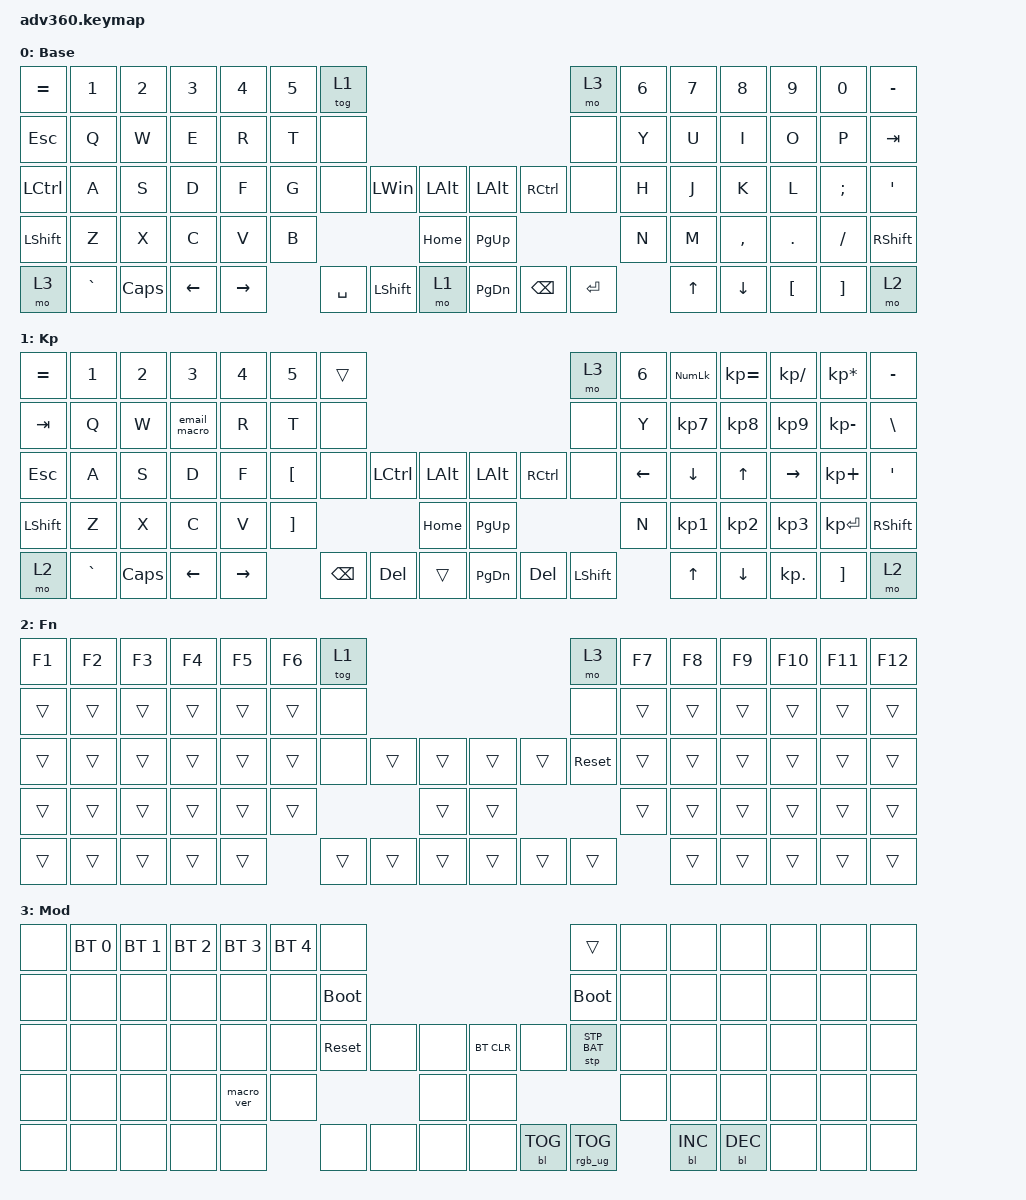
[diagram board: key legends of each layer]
#include <dt-bindings/zmk/stp.h>
#include <behaviors.dtsi>
#include <dt-bindings/zmk/backlight.h>
#include <dt-bindings/zmk/bt.h>
#include <dt-bindings/zmk/keys.h>
#include <dt-bindings/zmk/rgb.h>

/ {
    behaviors {
        #include "macros.dtsi"
      #include "version.dtsi"

        hm: homerow_mods {
            compatible = "zmk,behavior-hold-tap";
            label = "HOMEROW_MODS";
            #binding-cells = <2>;
            tapping-term-ms = <200>;
            quick_tap_ms = <175>;
            flavor = "tap-preferred";
            bindings = <&kp>, <&kp>;
        };
    };

    macros {
        email_macro: email_macro {
            compatible = "zmk,behavior-macro";
            #binding-cells = <0>;
            bindings = <&none &kp A &kp L &kp E &kp X &kp A &kp N &kp D &kp E &kp R &kp D &kp I &kp N &kp G &kp W &kp A &kp L &kp L &kp N5 &kp N3 &kp N9 &kp N8 &kp AT &kp G &kp M &kp A &kp I &kp L &kp DOT &kp C &kp O &kp M>;
            label = "EMAIL_MACRO";
        };
    };

    keymap {
        compatible = "zmk,keymap";

        default_layer {
            display-name = "Base";
            bindings = <
&kp EQUAL   &kp NUMBER_1  &kp N2    &kp N3    &kp N4     &kp N5  &tog 1                                                                &mo 3      &kp N6  &kp N7  &kp N8     &kp N9    &kp N0    &kp MINUS
&kp ESCAPE  &kp Q         &kp W     &kp E     &kp R      &kp T   &none                                                                 &none      &kp Y   &kp U   &kp I      &kp O     &kp P     &kp TAB
&kp LCTRL   &kp A         &kp S     &kp D     &kp F      &kp G   &none      &kp LEFT_WIN    &kp LALT      &kp LEFT_ALT  &kp RCTRL      &none      &kp H   &kp J   &kp K      &kp L     &kp SEMI  &kp SQT
&kp LSHFT   &kp Z         &kp X     &kp C     &kp V      &kp B                              &kp HOME      &kp PG_UP                               &kp N   &kp M   &kp COMMA  &kp DOT   &kp FSLH  &kp RSHFT
&mo 3       &kp GRAVE     &kp CAPS  &kp LEFT  &kp RIGHT          &kp SPACE  &kp LEFT_SHIFT  &mo 1         &kp PG_DN     &kp BACKSPACE  &kp ENTER          &kp UP  &kp DOWN   &kp LBKT  &kp RBKT  &mo 2
            >;
        };

        keypad {
            display-name = "Kp";
            bindings = <
&kp EQUAL  &kp N1     &kp N2    &kp N3        &kp N4     &kp N5             &trans                                                       &mo 3           &kp N6    &kp KP_NUM  &kp KP_EQUAL  &kp KP_DIVIDE    &kp KP_MULTIPLY  &kp MINUS
&kp TAB    &kp Q      &kp W     &email_macro  &kp R      &kp T              &none                                                        &none           &kp Y     &kp KP_N7   &kp KP_N8     &kp KP_N9        &kp KP_MINUS     &kp BSLH
&kp ESC    &kp A      &kp S     &kp D         &kp F      &kp LEFT_BRACKET   &none     &kp LCTRL  &kp LALT      &kp LEFT_ALT  &kp RCTRL   &none           &kp LEFT  &kp DOWN    &kp UP_ARROW  &kp RIGHT_ARROW  &kp KP_PLUS      &kp SQT
&kp LSHFT  &kp Z      &kp X     &kp C         &kp V      &kp RIGHT_BRACKET                       &kp HOME      &kp PG_UP                                 &kp N     &kp KP_N1   &kp KP_N2     &kp KP_N3        &kp KP_ENTER     &kp RSHFT
&mo 2      &kp GRAVE  &kp CAPS  &kp LEFT      &kp RIGHT                     &kp BSPC  &kp DEL    &trans        &kp PG_DN     &kp DELETE  &kp LEFT_SHIFT            &kp UP      &kp DOWN      &kp KP_DOT       &kp RBKT         &mo 2
            >;
        };

        fn {
            display-name = "Fn";
            bindings = <
&kp F1  &kp F2  &kp F3  &kp F4  &kp F5  &kp F6  &tog 1                                      &mo 3       &kp F7  &kp F8  &kp F9  &kp F10  &kp F11  &kp F12
&trans  &trans  &trans  &trans  &trans  &trans  &none                                       &none       &trans  &trans  &trans  &trans   &trans   &trans
&trans  &trans  &trans  &trans  &trans  &trans  &none   &trans  &trans      &trans  &trans  &sys_reset  &trans  &trans  &trans  &trans   &trans   &trans
&trans  &trans  &trans  &trans  &trans  &trans                  &trans      &trans                      &trans  &trans  &trans  &trans   &trans   &trans
&trans  &trans  &trans  &trans  &trans          &trans  &trans  &trans      &trans  &trans  &trans              &trans  &trans  &trans   &trans   &trans
            >;
        };

        mod {
            display-name = "Mod";
            bindings = <
&none  &bt BT_SEL 0  &bt BT_SEL 1  &bt BT_SEL 2  &bt BT_SEL 3  &bt BT_SEL 4  &none                                                  &trans           &none  &none       &none       &none  &none  &none
&none  &none         &none         &none         &none         &none         &bootloader                                            &bootloader      &none  &none       &none       &none  &none  &none
&none  &none         &none         &none         &none         &none         &sys_reset   &none  &none      &bt BT_CLR  &none       &stp STP_BAT     &none  &none       &none       &none  &none  &none
&none  &none         &none         &none         &macro_ver    &none                             &none      &none                                    &none  &none       &none       &none  &none  &none
&none  &none         &none         &none         &none                       &none        &none  &none      &none       &bl BL_TOG  &rgb_ug RGB_TOG         &bl BL_INC  &bl BL_DEC  &none  &none  &none
            >;
        };

        extra1 {
            display-name = "Red";
            status = "reserved";
        };

        extra2 {
            display-name = "Purple";
            status = "reserved";
        };

        extra3 {
            display-name = "Cyan";
            status = "reserved";
        };

        extra4 {
            display-name = "Yellow";
            status = "reserved";
        };
    };
};
